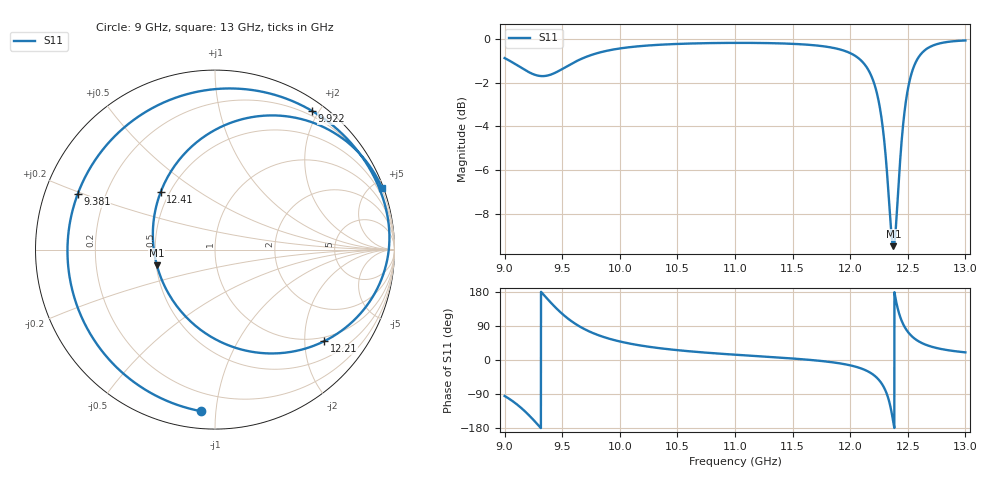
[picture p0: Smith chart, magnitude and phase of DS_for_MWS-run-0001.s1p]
! TOUCHSTONE file generated by CST DESIGN STUDIO
! Date and time: Wed Feb  5 13:32:07 2025
! Project name: C:\Work\MatlabApps\UnitCellOptimizationMatlab\CST\unitcell.cst
! Tree item: Tasks\Sweep1\SPara1\S-Parameters
! Header version: 2024
! Port assignment regex: !\s*Touchstone port\s*([0-9]+)\s*=\s*(CST MWS port|CST DES external port|CST DES block port)\s*(.+)\s* \(\"(.*)\"\)(\s*mode\s*([0-9]+))?.*
! Touchstone port assignment:
! Touchstone port 1 = CST DES external port 1 ("")
# GHz S MA R 50
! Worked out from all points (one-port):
!   4001 points, 9 GHz to 13 GHz, reference 50 ohm
!   lowest |S11| = -9.5 dB at 12.38 GHz (marker M1), VSWR 2.01, Z = 25.2 - j4.91 ohm
!   |S11| at or under -10 dB: nowhere
!   S11 on the Smith chart (normalised r, x): 9 GHz: 0.09, -0.91; 9.381 GHz: 0.10, +0.19; 9.922 GHz: 0.14, +1.92; 12.21 GHz: 0.89, -2.46; 12.41 GHz: 0.45, +0.36; 13 GHz: 0.14, +5.62
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9  0.9037 -94.9
9.09  0.8765 -113.1
9.173  0.8499 -134.4
9.283  0.8246 -168.9
9.381  0.8253 158.0
9.5  0.853 121.9
9.574  0.8751 103.8
9.659  0.8982 87.1
9.784  0.9241 69.0
9.922  0.9431 55.0
10  0.9507 48.9
10.5  0.9737 26.0
11  0.9791 14.0
11.5  0.9741 3.9
12  0.9277 -14.1
12.121  0.877 -25.3
12.206  0.7936 -40.1
12.256  0.6997 -55.0
12.305  0.5501 -79.8
12.339  0.4181 -110.2
12.375  0.3353 -165.1
12.415  0.4422 133.0
12.456  0.6228 97.0
12.5  0.7656 74.5
12.574  0.8895 53.1
12.667  0.9502 39.0
12.8  0.9795 28.4
13  0.9917 20.2
